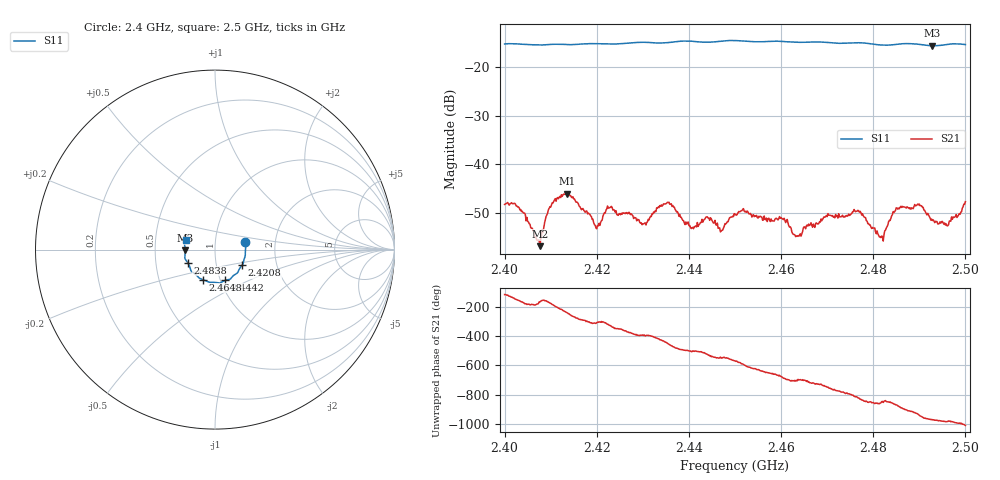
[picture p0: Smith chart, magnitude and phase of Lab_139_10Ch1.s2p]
# Hz S RI R 50
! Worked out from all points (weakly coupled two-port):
!   601 points, 2.4 GHz to 2.5 GHz, reference 50 ohm
!   highest |S21| = -46.07 dB at 2.4135 GHz (marker M1); lowest = -56.9 dB at 2.4077 GHz (marker M2)
!   lowest |S11| = -15.6 dB at 2.4928 GHz (marker M3), VSWR 1.40, Z = 35.8 - j0.353 ohm
!   |S11| at or under -10 dB: start of sweep to end of sweep
!   S12 and S22 are empty: the file has one direction only
!   S11 on the Smith chart (normalised r, x): 2.4 GHz: 1.40, +0.12; 2.4208 GHz: 1.33, -0.24; 2.4442 GHz: 1.05, -0.37; 2.4648 GHz: 0.83, -0.29; 2.4838 GHz: 0.73, -0.11; 2.5 GHz: 0.72, +0.08
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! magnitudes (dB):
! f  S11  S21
! 2.4 GHz  -15.2  -48.3
! 2.4077 GHz  -15.4  -56.9
! 2.41 GHz  -15.3  -48.8
! 2.4135 GHz  -15.4  -46.1
! 2.4167 GHz  -15.2  -49.4
! 2.4208 GHz  -15.2  -52.0
! 2.4228 GHz  -15.2  -49.0
! 2.4303 GHz  -14.9  -52.2
! 2.4333 GHz  -15.0  -48.8
! 2.4405 GHz  -14.7  -53.3
! 2.4442 GHz  -14.9  -51.1
! 2.447 GHz  -14.7  -53.8
! 2.45 GHz  -14.5  -50.4
! 2.4648 GHz  -14.9  -53.1
! 2.4667 GHz  -14.8  -52.6
! 2.4763 GHz  -15.0  -49.7
! 2.4817 GHz  -15.4  -55.1
! 2.4833 GHz  -15.5  -51.9
! 2.4838 GHz  -15.4  -51.2
! 2.4895 GHz  -15.3  -48.4
! 2.4928 GHz  -15.6  -51.6
! 2.5 GHz  -15.3  -47.7
